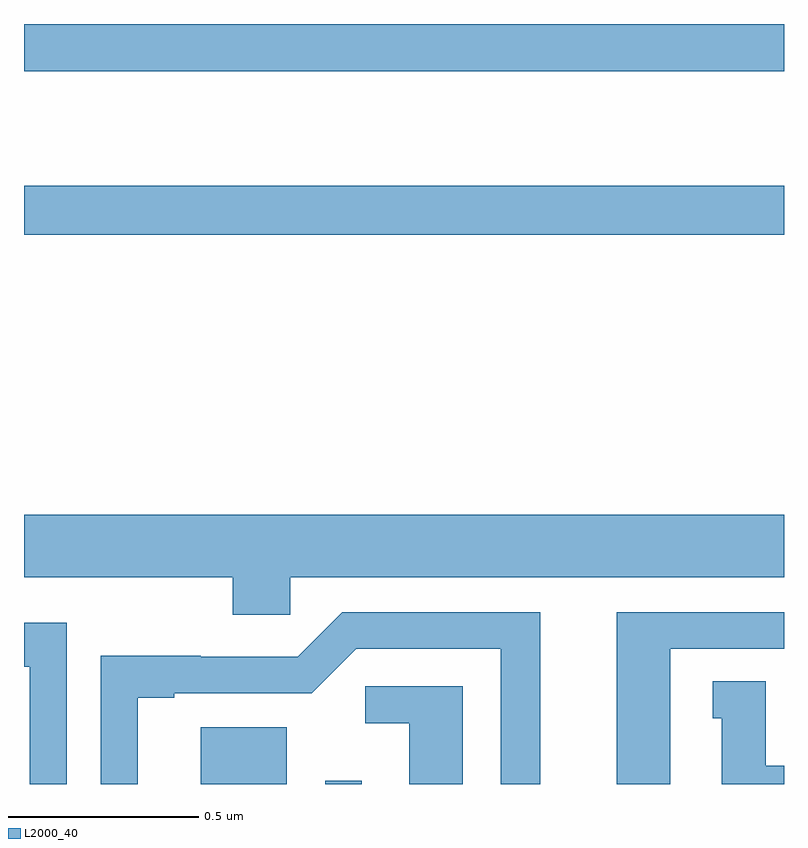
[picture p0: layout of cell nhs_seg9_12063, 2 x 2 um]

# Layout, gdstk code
import gdstk
lib = gdstk.Library(unit=1e-6, precision=1e-09)
def R(c, l, rs):  # rectangles x0, y0, x1, y1
    for r in rs: c.add(gdstk.rectangle(r[:2], r[2:], *l))
def P(c, l, *ps):  # polygons
    for p in ps: c.add(gdstk.Polygon(p, *l))
L2000_40 = (2000, 40)

nhs_seg9_12063 = lib.new_cell('nhs_seg9_12063')
R(nhs_seg9_12063, L2000_40, [(263.465,1238.5,263.692,1238.65), (263.793,1238.5,263.889,1238.509), (263,1239.946,265,1240.075), (263,1240.376,265,1240.5)])
P(nhs_seg9_12063, L2000_40, [(263.7,1239.044),(265,1239.044),(265,1239.208),(263,1239.208),(263,1239.044),(263.549,1239.044),(263.549,1238.946),(263.7,1238.946)],
  [(264.7,1238.856),(265,1238.856),(265,1238.952),(264.56,1238.952),(264.56,1238.5),(264.7,1238.5)],
  [(263.299,1238.727),(263.395,1238.727),(263.395,1238.739),(263.757,1238.739),(263.874,1238.856),(264.254,1238.856),(264.254,1238.5),(264.358,1238.5),(264.358,1238.952),(263.838,1238.952),(263.721,1238.835),(263.465,1238.835),(263.465,1238.837),(263.202,1238.837),(263.202,1238.5),(263.299,1238.5)],
  [(263.112,1238.925),(263,1238.925),(263,1238.809),(263.015,1238.809),(263.015,1238.5),(263.112,1238.5)],
  [(265,1238.548),(264.952,1238.548),(264.952,1238.771),(264.812,1238.771),(264.812,1238.673),(264.836,1238.673),(264.836,1238.5),(265,1238.5)],
  [(264.154,1238.757),(263.898,1238.757),(263.898,1238.66),(264.014,1238.66),(264.014,1238.5),(264.154,1238.5)])

lib.write_gds('nhs_seg9_12063.gds')
